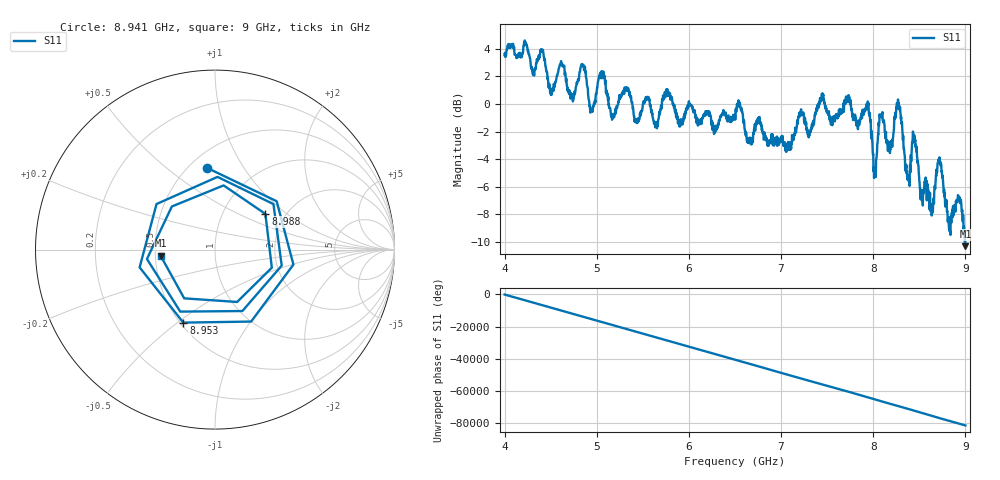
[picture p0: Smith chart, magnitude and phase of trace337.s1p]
! Created with skrf 1.8.0 (http://scikit-rf.org).
# Hz S RI R 50.0
!freq ReS11 ImS11
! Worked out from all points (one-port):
!   1601 points, 4 GHz to 9 GHz, reference 50 ohm
!   lowest |S11| = -10.3 dB at 9 GHz (marker M1), VSWR 1.88, Z = 26.7 - j1.97 ohm
!   |S11| at or under -10 dB: 8.997927 GHz to end of sweep
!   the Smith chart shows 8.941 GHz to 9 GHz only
!   S11 on the Smith chart (normalised r, x): 8.941 GHz: 0.61, +0.70; 8.953 GHz: 0.52, -0.53; 8.988 GHz: 1.58, +0.71; 9 GHz: 0.53, -0.04
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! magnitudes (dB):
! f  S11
! 4 GHz  3.5
! 4.409 GHz  3.9
! 4.506 GHz  0.9
! 4.625 GHz  2.9
! 4.731 GHz  0.5
! 4.853 GHz  2.7
! 4.944 GHz  -0.4
! 5.047 GHz  1.9
! 5.25 GHz  0.4
! 5.875 GHz  -1.1
! 6.5 GHz  -0.8
! 7.125 GHz  -2.6
! 7.75 GHz  0.0
! 7.941 GHz  0.2
! 8.019 GHz  -5.1
! 8.084 GHz  -0.8
! 8.181 GHz  -3.6
! 8.272 GHz  -0.4
! 8.375 GHz  -5.2
! 8.447 GHz  -2.4
! 8.525 GHz  -6.6
! 8.634 GHz  -8.1
! 8.719 GHz  -3.9
! 8.825 GHz  -9.0
! 8.941 GHz  -6.8
! 8.953 GHz  -7.1
! 8.988 GHz  -9.3
! 9 GHz  -10.3
